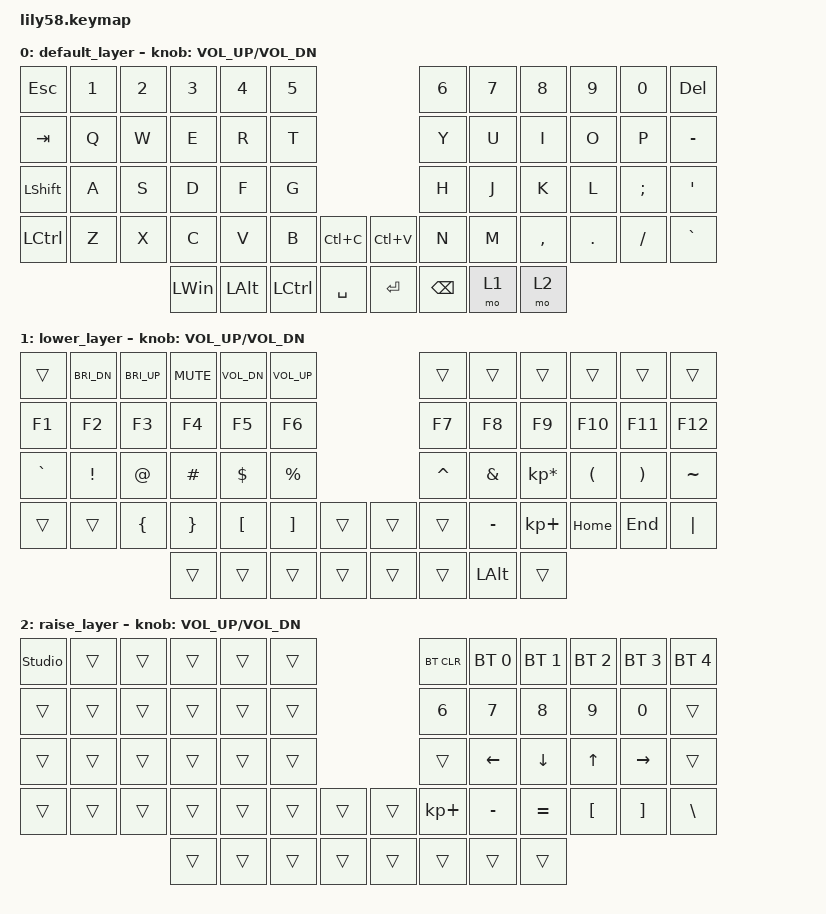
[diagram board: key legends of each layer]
/*
 * Copyright (c) 2020 The ZMK Contributors
 *
 * SPDX-License-Identifier: MIT
 */

#include <behaviors.dtsi>
#include <dt-bindings/zmk/bt.h>
#include <dt-bindings/zmk/keys.h>

/ {
    keymap {
        compatible = "zmk,keymap";

        default_layer {
            // ------------------------------------------------------------------------------------------------------------
            // |  ESC  |  1  |  2  |  3   |  4   |  5   |                   |  6   |  7    |  8    |  9   |   0   |   `   |
            // |  TAB  |  Q  |  W  |  E   |  R   |  T   |                   |  Y   |  U    |  I    |  O   |   P   |   -   |
            // |  CTRL |  A  |  S  |  D   |  F   |  G   |                   |  H   |  J    |  K    |  L   |   ;   |   '   |
            // | SHIFT |  Z  |  X  |  C   |  V   |  B   |   "["  |  |  "]"  |  N   |  M    |  ,    |  .   |   /   | SHIFT |
            //                     | ALT  | GUI  | LOWER|  SPACE |  | ENTER | RAISE| BSPC  | GUI   |

            bindings = <
&kp ESC         &kp N1  &kp N2  &kp N3        &kp N4        &kp N5                             &kp N6         &kp N7  &kp N8     &kp N9   &kp N0    &kp DELETE
&kp TAB         &kp Q   &kp W   &kp E         &kp R         &kp T                              &kp Y          &kp U   &kp I      &kp O    &kp P     &kp MINUS
&kp LEFT_SHIFT  &kp A   &kp S   &kp D         &kp F         &kp G                              &kp H          &kp J   &kp K      &kp L    &kp SEMI  &kp SQT
&kp LCTRL       &kp Z   &kp X   &kp C         &kp V         &kp B      &kp LC(C)    &kp LC(V)  &kp N          &kp M   &kp COMMA  &kp DOT  &kp FSLH  &kp GRAVE
                                &kp LEFT_WIN  &kp LEFT_ALT  &kp LCTRL  &kp SPACE    &kp ENTER  &kp BACKSPACE  &mo 1   &mo 2
            >;

            sensor-bindings = <&inc_dec_kp C_VOL_UP C_VOL_DN>;
        };

        lower_layer {
            // --------------------------------------------------------------------------------------------------------------
            // | LPAD  | BRDn | BRUp |  MUT |  Vo- |  Vo+ |                   |      |       |       |      |       |       |
            // |  F1   |  F2  |  F3  |  F4  |  F5  |  F6  |                   |  F7  |  F8   |  F9   |  F10 |  F11  |  F12  |
            // |   `   |  !   |  @   |  #   |  $   |  %   |                   |  ^   |  &    |  *    |  (   |   )   |   ~   |
            // |       |      |      |      |      |      |        |  |       |      |  _    |  +    |  {   |   }   |  "|"  |
            //                       |      |      |      |        |  |       |      |       |       |

            bindings = <
&trans     &kp C_BRI_DN  &kp C_BRI_UP    &kp C_MUTE       &kp C_VOL_DN      &kp C_VOL_UP                         &trans     &trans        &trans           &trans    &trans    &trans
&kp F1     &kp F2        &kp F3          &kp F4           &kp F5            &kp F6                               &kp F7     &kp F8        &kp F9           &kp F10   &kp F11   &kp F12
&kp GRAVE  &kp EXCL      &kp AT          &kp HASH         &kp DOLLAR        &kp PRCNT                            &kp CARET  &kp AMPS      &kp KP_MULTIPLY  &kp LPAR  &kp RPAR  &kp TILDE
&trans     &trans        &kp LEFT_BRACE  &kp RIGHT_BRACE  &kp LEFT_BRACKET  &kp RIGHT_BRACKET  &trans    &trans  &trans     &kp MINUS     &kp KP_PLUS      &kp HOME  &kp END   &kp PIPE
                                         &trans           &trans            &trans             &trans    &trans  &trans     &kp LEFT_ALT  &trans
            >;

            sensor-bindings = <&inc_dec_kp C_VOL_UP C_VOL_DN>;
        };

        raise_layer {
            // ------------------------------------------------------------------------------------------------------------
            // |       |     |     |      |      |      |                   |      |       |       |      |       |       |
            // |   `   |  1  |  2  |  3   |  4   |  5   |                   |  6   |   7   |   8   |  9   |   0   |       |
            // |   F1  |  F2 |  F3 |  F4  |  F5  |  F6  |                   |      |   <-  |   v   |  ^   |  ->   |       |
            // |   F7  |  F8 |  F9 |  F10 |  F11 |  F12 |        |  |       |  +   |   -   |   =   |  [   |   ]   |   \   |
            //                     |      |      |      |        |  |       |      |       |       |

            bindings = <
&studio_unlock  &trans  &trans  &trans  &trans  &trans                    &bt BT_CLR   &bt BT_SEL 0  &bt BT_SEL 1  &bt BT_SEL 2  &bt BT_SEL 3  &bt BT_SEL 4
&trans          &trans  &trans  &trans  &trans  &trans                    &kp N6       &kp N7        &kp N8        &kp N9        &kp N0        &trans
&trans          &trans  &trans  &trans  &trans  &trans                    &trans       &kp LEFT      &kp DOWN      &kp UP        &kp RIGHT     &trans
&trans          &trans  &trans  &trans  &trans  &trans  &trans    &trans  &kp KP_PLUS  &kp MINUS     &kp EQUAL     &kp LBKT      &kp RBKT      &kp BSLH
                                &trans  &trans  &trans  &trans    &trans  &trans       &trans        &trans
            >;

            sensor-bindings = <&inc_dec_kp C_VOL_UP C_VOL_DN>;
        };
    };
};
